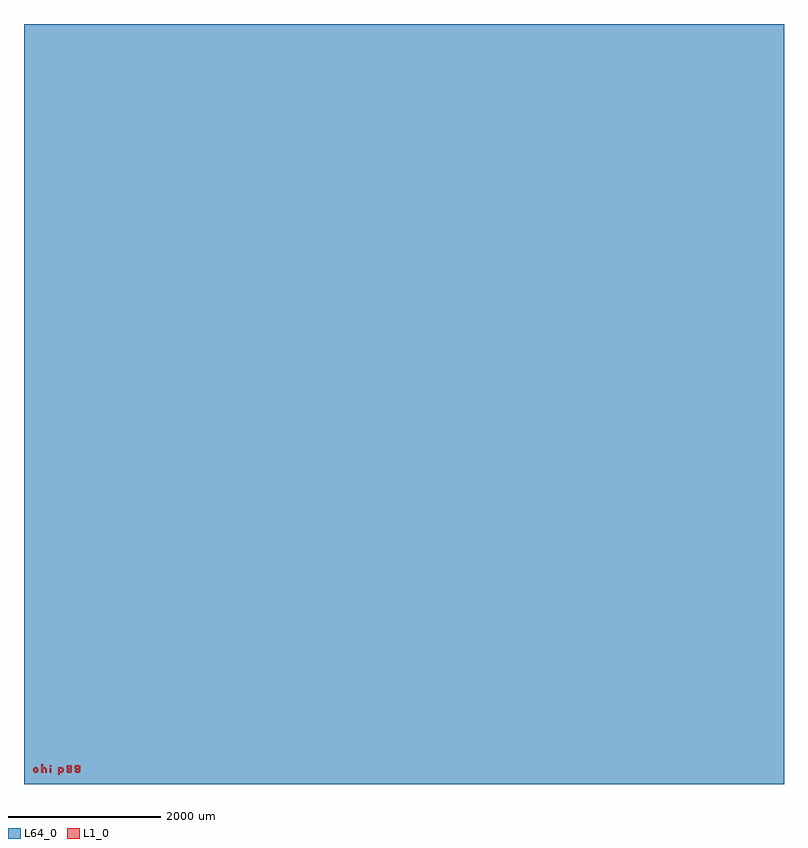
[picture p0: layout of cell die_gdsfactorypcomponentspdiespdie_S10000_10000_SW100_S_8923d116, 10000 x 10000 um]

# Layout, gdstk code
import gdstk
lib = gdstk.Library(unit=1e-6, precision=1e-09)
def R(c, l, rs):  # rectangles x0, y0, x1, y1
    for r in rs: c.add(gdstk.rectangle(r[:2], r[2:], *l))
def P(c, l, *ps):  # polygons
    for p in ps: c.add(gdstk.Polygon(p, *l))
L1_0 = (1, 0)
L64_0 = (64, 0)

text_gdsfactorypcomponen = lib.new_cell('text_gdsfactorypcomponentsptextsptext_Tchip99_S100_P0_0_b2b715c8')
R(text_gdsfactorypcomponen, L1_0, [(220,0,240,60), (220,80,240,100)])
P(text_gdsfactorypcomponen, L1_0, [(20,0),(0,20),(0,50),(20,70),(50,70),(70,50),(70,40),(50,40),(40,50),(30,50),(20,40),(20,30),(30,20),(40,20),(50,30),(70,30),(70,20),(50,0)],
  [(330,-30),(330,30),(350,30),(350,20),(370,20),(380,30),(380,40),(370,50),(350,50),(350,40),(330,40),(330,70),(380,70),(400,50),(400,20),(380,0),(350,0),(350,-30)],
  [(450,0),(440,10),(440,30),(460,30),(460,20),(490,20),(490,40),(450,40),(440,50),(440,90),(450,100),(470,100),(470,80),(460,80),(460,60),(490,60),(490,80),(480,80),(480,100),(500,100),(510,90),(510,10),(500,0)],
  [(560,0),(550,10),(550,30),(570,30),(570,20),(600,20),(600,40),(560,40),(550,50),(550,90),(560,100),(580,100),(580,80),(570,80),(570,60),(600,60),(600,80),(590,80),(590,100),(610,100),(620,90),(620,10),(610,0)],
  [(110,0),(110,110),(130,110),(130,60),(140,70),(160,70),(180,50),(180,0),(160,0),(160,40),(150,50),(140,50),(130,40),(130,0)])

die_gdsfactorypcomponent = lib.new_cell('die_gdsfactorypcomponentspdiespdie_S10000_10000_SW100_S_8923d116')
R(die_gdsfactorypcomponent, L64_0, [(-5000,-5000,5000,5000)])
P(die_gdsfactorypcomponent, L64_0, [(4900,0),(4900,4900),(0,4900),(0,5000),(5000,5000),(5000,0)],
  [(-5000,0),(-5000,5000),(0,5000),(0,4900),(-4900,4900),(-4900,0)],
  [(0,-5000),(0,-4900),(4900,-4900),(4900,0),(5000,0),(5000,-5000)],
  [(-5000,-5000),(-5000,0),(-4900,0),(-4900,-4900),(0,-4900),(0,-5000)])
die_gdsfactorypcomponent.add(gdstk.Reference(text_gdsfactorypcomponen, (-4880,-4850)))

lib.write_gds('die_gdsfactorypcomponentspdiespdie_S10000_10000_SW100_S_8923d116.gds')
